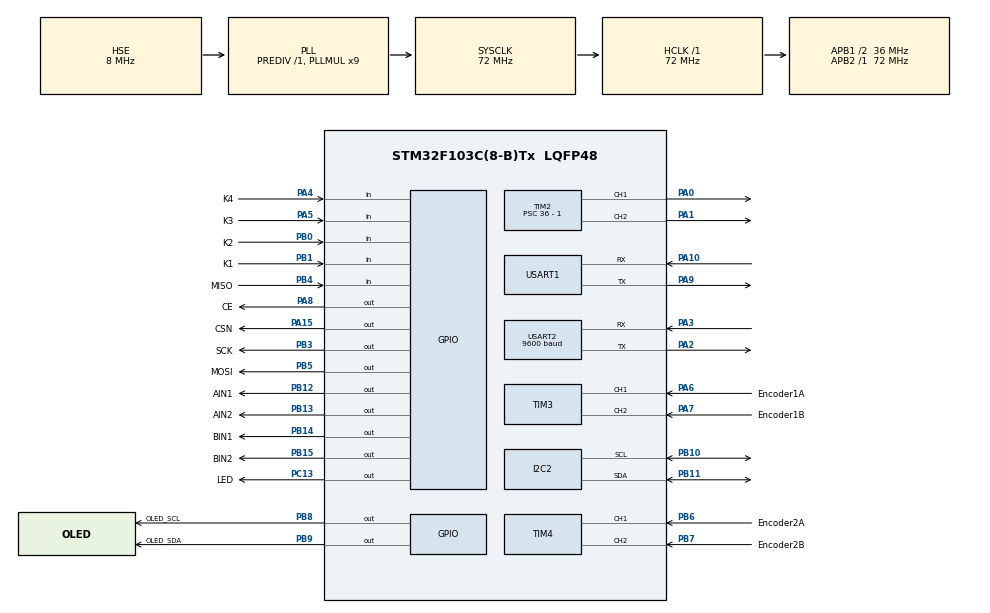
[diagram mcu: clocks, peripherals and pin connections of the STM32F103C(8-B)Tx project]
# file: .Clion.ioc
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I2C2.I2C_Mode=I2C_Fast
Mcu.Family=STM32F1
Mcu.Name=STM32F103C(8-B)Tx
Mcu.Package=LQFP48
NVIC.PriorityGroup=NVIC_PRIORITYGROUP_4
NVIC.TIM1_UP_IRQn=true\:0\:0\:false\:false\:true\:true\:true\:true
NVIC.USART1_IRQn=true\:0\:0\:false\:false\:true\:true\:true\:true
NVIC.USART2_IRQn=true\:0\:0\:false\:false\:true\:true\:true\:true
PA0-WKUP.Signal=S_TIM2_CH1_ETR
PA1.Signal=S_TIM2_CH2
PA10.Mode=Asynchronous
PA10.Signal=USART1_RX
PA13.Mode=Serial_Wire
PA13.Signal=SYS_JTMS-SWDIO
PA14.Mode=Serial_Wire
PA14.Signal=SYS_JTCK-SWCLK
PA15.GPIO_Label=CSN
PA15.GPIO_Speed=GPIO_SPEED_FREQ_HIGH
PA15.PinState=GPIO_PIN_SET
PA15.Signal=GPIO_Output
PA2.Mode=Asynchronous
PA2.Signal=USART2_TX
PA3.Mode=Asynchronous
PA3.Signal=USART2_RX
PA4.GPIO_Label=K4
PA4.GPIO_PuPd=GPIO_PULLUP
PA4.Signal=GPIO_Input
PA5.GPIO_Label=K3
PA5.GPIO_PuPd=GPIO_PULLUP
PA5.Signal=GPIO_Input
PA6.GPIO_Label=Encoder1A
PA6.GPIO_PuPd=GPIO_PULLUP
PA6.Signal=S_TIM3_CH1
PA7.GPIO_Label=Encoder1B
PA7.GPIO_PuPd=GPIO_PULLUP
PA7.Signal=S_TIM3_CH2
PA8.GPIO_Label=CE
PA8.GPIO_Speed=GPIO_SPEED_FREQ_HIGH
PA8.PinState=GPIO_PIN_RESET
PA8.Signal=GPIO_Output
PA9.Mode=Asynchronous
PA9.Signal=USART1_TX
PB0.GPIO_Label=K2
PB0.GPIO_PuPd=GPIO_PULLUP
PB0.Signal=GPIO_Input
PB1.GPIO_Label=K1
PB1.GPIO_PuPd=GPIO_PULLUP
PB1.Signal=GPIO_Input
PB10.Mode=I2C
PB10.Signal=I2C2_SCL
PB11.Mode=I2C
PB11.Signal=I2C2_SDA
PB12.GPIO_Label=AIN1
PB12.GPIO_Speed=GPIO_SPEED_FREQ_HIGH
PB12.Signal=GPIO_Output
PB13.GPIO_Label=AIN2
PB13.GPIO_Speed=GPIO_SPEED_FREQ_HIGH
PB13.Signal=GPIO_Output
PB14.GPIO_Label=BIN1
PB14.GPIO_Speed=GPIO_SPEED_FREQ_HIGH
PB14.Signal=GPIO_Output
PB15.GPIO_Label=BIN2
PB15.GPIO_Speed=GPIO_SPEED_FREQ_HIGH
PB15.Signal=GPIO_Output
PB3.GPIO_Label=SCK
PB3.GPIO_Speed=GPIO_SPEED_FREQ_HIGH
PB3.Signal=GPIO_Output
PB4.GPIO_Label=MISO
PB4.GPIO_PuPd=GPIO_PULLUP
PB4.Signal=GPIO_Input
PB5.GPIO_Label=MOSI
PB5.GPIO_Speed=GPIO_SPEED_FREQ_HIGH
PB5.Signal=GPIO_Output
PB6.GPIO_Label=Encoder2A
PB6.GPIO_PuPd=GPIO_PULLUP
PB6.Signal=S_TIM4_CH1
PB7.GPIO_Label=Encoder2B
PB7.GPIO_PuPd=GPIO_PULLUP
PB7.Signal=S_TIM4_CH2
PB8.GPIO_Label=OLED_SCL
PB8.GPIO_ModeDefaultOutputPP=GPIO_MODE_OUTPUT_OD
PB8.GPIO_PuPd=GPIO_PULLUP
PB8.GPIO_Speed=GPIO_SPEED_FREQ_HIGH
PB8.PinState=GPIO_PIN_SET
PB8.Signal=GPIO_Output
PB9.GPIO_Label=OLED_SDA
PB9.GPIO_ModeDefaultOutputPP=GPIO_MODE_OUTPUT_OD
PB9.GPIO_PuPd=GPIO_PULLUP
PB9.GPIO_Speed=GPIO_SPEED_FREQ_HIGH
PB9.PinState=GPIO_PIN_SET
PB9.Signal=GPIO_Output
PC13-TAMPER-RTC.GPIO_Label=LED
PC13-TAMPER-RTC.Signal=GPIO_Output
PD0-OSC_IN.Mode=HSE-External-Oscillator
PD0-OSC_IN.Signal=RCC_OSC_IN
PD1-OSC_OUT.Mode=HSE-External-Oscillator
PD1-OSC_OUT.Signal=RCC_OSC_OUT
ProjectManager.HeapSize=0x200
ProjectManager.StackSize=0x400
ProjectManager.TargetToolchain=MDK-ARM V5.32
RCC.AHBFreq_Value=72000000
RCC.APB1CLKDivider=RCC_HCLK_DIV2
RCC.APB1Freq_Value=36000000
RCC.APB1TimFreq_Value=72000000
RCC.APB2Freq_Value=72000000
RCC.APB2TimFreq_Value=72000000
RCC.HCLKFreq_Value=72000000
RCC.PLLMUL=RCC_PLL_MUL9
RCC.PLLSourceVirtual=RCC_PLLSOURCE_HSE
RCC.SYSCLKFreq_VALUE=72000000
RCC.SYSCLKSource=RCC_SYSCLKSOURCE_PLLCLK
RCC.USBFreq_Value=72000000
SH.S_TIM2_CH1_ETR.0=TIM2_CH1,PWM Generation1 CH1
SH.S_TIM2_CH2.0=TIM2_CH2,PWM Generation2 CH2
SH.S_TIM3_CH1.0=TIM3_CH1,Encoder_Interface
SH.S_TIM3_CH2.0=TIM3_CH2,Encoder_Interface
SH.S_TIM4_CH1.0=TIM4_CH1,Encoder_Interface
SH.S_TIM4_CH2.0=TIM4_CH2,Encoder_Interface
TIM1.AutoReloadPreload=TIM_AUTORELOAD_PRELOAD_ENABLE
TIM1.Period=1000 - 1
TIM1.Prescaler=72 - 1
TIM2.AutoReloadPreload=TIM_AUTORELOAD_PRELOAD_ENABLE
TIM2.Channel-PWM\ Generation1\ CH1=TIM_CHANNEL_1
TIM2.Channel-PWM\ Generation2\ CH2=TIM_CHANNEL_2
TIM2.Period=100 - 1
TIM2.Prescaler=36 - 1
TIM3.EncoderMode=TIM_ENCODERMODE_TI12
TIM3.IC1Filter=15
TIM3.IC2Filter=15
TIM4.EncoderMode=TIM_ENCODERMODE_TI12
TIM4.IC1Filter=15
TIM4.IC1Polarity=TIM_ICPOLARITY_FALLING
TIM4.IC2Filter=15
USART1.VirtualMode=VM_ASYNC
USART2.BaudRate=9600
USART2.VirtualMode=VM_ASYNC
VP_TIM1_VS_ClockSourceINT.Mode=Internal
VP_TIM2_VS_ClockSourceINT.Mode=Internal
board=custom

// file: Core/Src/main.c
/* USER CODE BEGIN Header */
/**
 ******************************************************************************
 * @file           : main.c
 * @brief          : Main program body
 ******************************************************************************
 * @attention
 *
 * Copyright (c) 2026 STMicroelectronics.
 * All rights reserved.
 *
 * This software is licensed under terms that can be found in the LICENSE file
 * in the root directory of this software component.
 * If no LICENSE file comes with this software, it is provided AS-IS.
 *
 ******************************************************************************
 */
/* USER CODE END Header */
#include "main.h"
#include "i2c.h"
#include "tim.h"
#include "usart.h"
#include "gpio.h"

/* USER CODE BEGIN Includes */
#include <stdio.h>
#include <string.h>
#include "NRF24L01.h"
#include "MyKey.h"
#include "OLED.h"
#include "Motor.h"
#include "Encoder.h"
#include "MPU6050.h"
#include "BLE_UART.h"
#include "key_callback.h"
#include "tim_callback.h"
#include "PID.h"
#include "Store.h"
/* USER CODE END Includes */

/* USER CODE BEGIN PTD */
typedef enum
{
  STATE_MENU = 0,
  STATE_RUNNING,
  STATE_PARAM_VIEW,
  STATE_OFFSET_VIEW
} AppState_t;
/* USER CODE END PTD */

/* USER CODE BEGIN PV */
uint8_t RunFlag = 0;
uint8_t K4DoubleClickFlag = 0;
uint8_t K4SingleClickFlag = 0;
AppState_t AppState = STATE_MENU;
uint16_t SpeedLevel = 5;
/* USER CODE END PV */

void SystemClock_Config(void);
/* USER CODE BEGIN PFP */
void ClearKeyEvents(void);
void Action_K1(void);
void Action_K2(void);
void Action_K3(void);
void Action_K4(void);
void Display_Update(AppState_t state);
/* USER CODE END PFP */

/* USER CODE BEGIN 0 */
void LED_ON(void)
{
  HAL_GPIO_WritePin(LED_GPIO_Port, LED_Pin, GPIO_PIN_RESET);
}

void LED_OFF(void)
{
  HAL_GPIO_WritePin(LED_GPIO_Port, LED_Pin, GPIO_PIN_SET);
}
// 深吃这两个函数代码！！！
void SaveParam(void)
{
  /*保存参数至FLASH*/
  Store_Data[1] = GY_Offset;
  Store_Data[2] = *((uint16_t *)&AngleAcc_Offset);
  Store_Data[3] = *((uint16_t *)&AngleAcc_Offset + 1);
  Store_Data[4] = SpeedLevel;
  Store_Save();
}

void LoadParam(void)
{
  /*从FLASH加载参数*/
  uint32_t Temp;
  GY_Offset = Store_Data[1];
  Temp = (Store_Data[3] << 16) | Store_Data[2];
  AngleAcc_Offset = *(float *)&Temp;
  SpeedLevel = Store_Data[4];
}

/* ===== 浮点数格式化工具函数 ===== */
#define FLOAT_BUF_COUNT 40
#define FLOAT_BUF_SIZE 16

/* Float_Printf showSign 参数宏定义 */
#define FLOAT_SIGN_OnlyNEGATIVE 0 /* 仅负数显示-，正数不显示符号 */
#define FLOAT_SIGN_ALWAYS 1       /* 始终显示 +/- */
#define FLOAT_SIGN_OnlyPOSITIVE 2 /* 仅正数显示+，负数不显示符号 */

static char Float_Buf[FLOAT_BUF_COUNT][FLOAT_BUF_SIZE];
static uint8_t Float_BufIdx = 0;

/**
 * @brief  浮点数格式化为字符串（替代 sprintf 的 %f，不依赖 _printf_float）
 * @param  value    浮点数值
 * @param  width    总显示宽度（含符号、整数部分、小数点、小数部分）
 * @param  decimals 小数位数（0~5）
 * @param  showSign FLOAT_SIGN_OnlyNEGATIVE=仅负数显示-，FLOAT_SIGN_ALWAYS=始终显示+/-，FLOAT_SIGN_OnlyPOSITIVE=仅正数显示+
 * @return 格式化后的字符串指针（旋转缓冲区）
 */
char *Float_Printf(float value, int width, int decimals, uint8_t showSign)
{
  char *buf = Float_Buf[Float_BufIdx];
  Float_BufIdx = (Float_BufIdx + 1) % FLOAT_BUF_COUNT;

  int pos = 0;
  char sign = 0;

  /* 1. 处理符号 */
  if (value < 0.0f)
  {
    if (showSign != 2)
      sign = '-'; /* showSign=2时不显示负号，其他都显示 */
    value = -value;
  }
  else if (showSign >= 1)
  {
    sign = '+'; /* showSign=1或2时显示正号 */
  }

  /* 2. 拆分整数部分和小数部分 */
  int intPart = (int)value;
  float frac = value - (float)intPart;

  /* 3. 计算小数部分（0~5位），不用pow，用乘法循环 */
  int fracInt = 0;
  if (decimals > 0)
  {
    float multiplier = 1.0f;
    for (int i = 0; i < decimals; i++)
      multiplier *= 10.0f;
    fracInt = (int)(frac * multiplier); /* 直接截断，不四舍五入 */
  }

  /* 4. 计算整数部分的位数 */
  int intDigits = 0;
  int temp = intPart;
  if (temp == 0)
  {
    intDigits = 1;
  }
  else
  {
    while (temp > 0)
    {
      intDigits++;
      temp /= 10;
    }
  }

  /* 5. 计算总所需长度：符号 + 整数位 + 小数点 + 小数位 */
  int totalLen = (sign ? 1 : 0) + intDigits + (decimals > 0 ? 1 : 0) + decimals;

  /* 6. 计算需要补零的数量（符号占1位后，剩余宽度用于补零+整数+小数点+小数） */
  int padZero = 0;
  int contentLen = intDigits + (decimals > 0 ? 1 : 0) + decimals;
  if (width > (sign ? 1 : 0) + contentLen)
  {
    padZero = width - (sign ? 1 : 0) - contentLen;
  }

  /* 7. 从左到右构建字符串：符号 -> 补零 -> 整数部分 -> 小数点 -> 小数部分 */

  /* 符号（放在最前面） */
  if (sign)
  {
    buf[pos++] = sign;
  }

  /* 补零 */
  for (int i = 0; i < padZero; i++)
  {
    buf[pos++] = '0';
  }

  /* 整数部分（递归写入） */
  if (intPart == 0)
  {
    buf[pos++] = '0';
  }
  else
  {
    /* 先写高位到临时数组，再反转写入buf */
    char intBuf[12];
    int intLen = 0;
    temp = intPart;
    while (temp > 0)
    {
      intBuf[intLen++] = '0' + (temp % 10);
      temp /= 10;
    }
    /* 反转 */
    for (int i = intLen - 1; i >= 0; i--)
    {
      buf[pos++] = intBuf[i];
    }
  }

  /* 小数点 */
  if (decimals > 0)
  {
    buf[pos++] = '.';

    /* 小数部分（补零 + 数字） */
    int fracDigits = 1;
    int divisor = 1;
    for (int i = 1; i < decimals; i++)
    {
      divisor *= 10;
      fracDigits *= 10;
    }
    fracDigits *= 10;

    for (int i = 0; i < decimals; i++)
    {
      int digit = (fracInt / divisor) % 10;
      buf[pos++] = '0' + digit;
      divisor /= 10;
    }
  }

  buf[pos] = '\0';
  return buf;
}

/*平衡车动画*/
void BCar_Start_Animation()
{
  OLED_ShowString(44, 6, "STM32", OLED_8X16);
  OLED_ShowChinese_12X12(46, 26, "平衡车");
  OLED_ShowString(44, 48, "HAL_Car", OLED_6X8);
  OLED_Update();
  HAL_Delay(1500);
  while (1)
  {
    static uint16_t i = 0;
    OLED_ShowChinese_12X12(40, 26, "车度空间");
    if (i > 0)
      OLED_UpdateArea(40, 26, i, 12);
    if (i < 12 * 2)
    {
      HAL_Delay(16);
      i++;
    }
    if (i < 12 * 4 && i >= 12 * 2)
    {
      HAL_Delay(3);
      i++;
    }
    if (i >= 12 * 4)
    {
      HAL_Delay(1500);
      break;
    }
  }
  OLED_ClearArea(44, 48, 42, 8);
  OLED_UpdateArea(44, 48, 42, 8);
  while (1)
  {
    static uint16_t i = 0;
    OLED_ShowChinese_12X12(40, 46, "除了");
    OLED_ShowString(64, 48, "OLED", OLED_6X8);
    if (i > 0)
      OLED_UpdateArea(40, 46, i, 16);
    if (i < 16 * 2)
    {
      HAL_Delay(16);
      i++;
    }
    if (i < 16 * 6 && i >= 16 * 2)
    {
      HAL_Delay(3);
      i++;
    }
    if (i >= 16 * 6)
    {
      HAL_Delay(1500);
      break;
    }
  }
  while (1)
  {
    static uint16_t i = 0;
    OLED_ShowChinese_12X12(30, 46, "其余从零撰写");
    if (i > 0)
      OLED_UpdateArea(30, 46, i, 12);
    if (i < 12 * 3)
    {
      HAL_Delay(16);
      i++;
    }
    if (i < 12 * 6 && i >= 12 * 3)
    {
      HAL_Delay(3);
      i++;
    }
    if (i >= 12 * 6)
    {
      HAL_Delay(1500);
      break;
    }
  }
  OLED_Clear();
  OLED_ShowChinese_12X12(30 + 16, 0, "期末月");
  OLED_ShowChinese_12X12(10 + 16, 13, "懒懒散散一个月");
  OLED_ShowChinese_12X12(24 + 16, 26, "历经千辛");
  OLED_ShowChinese_12X12(6 + 16, 40, "改了许许多多");
  OLED_ShowString(96, 43, "BUG", OLED_6X8);
  OLED_ShowChinese_12X12(26 + 16, 52, "终于完成！");
  OLED_Update();
  HAL_Delay(4000);
  OLED_Clear();
  OLED_ShowChinese_12X12(40, 26, "按下一键");
  OLED_ShowString(0, 40, "                K1>", OLED_6X8);
  OLED_Update();
}

/* ===== 按键事件清除，避免“误触”和“重复触发” ===== */
void ClearKeyEvents(void)
{
  Key_GetPressed(K1_ID);
  Key_GetPressed(K2_ID);
  Key_GetPressed(K3_ID);
  K4SingleClickFlag = 0;
  K4DoubleClickFlag = 0;
}

/* ===== K1：启动/停止 ===== */
void Action_K1(void)
{
  if (AppState == STATE_MENU)
  {
    PID_Init(&AnglePID);
    PID_Init(&SpeedPID);
    PID_Init(&TurnPID);
    Angle = AngleAcc_Filter;
    LED_ON();
    RunFlag = 1;
    AppState = STATE_RUNNING;
  }
  else if (AppState == STATE_RUNNING)
  {
    LED_OFF();
    RunFlag = 0;
    AppState = STATE_MENU;
    ClearKeyEvents();
  }
}

/* ===== K2：校准（仅菜单状态下可触发） ===== */
void Action_K2(void)
{
  if (AppState != STATE_MENU)
    return;

  OLED_Clear();
  OLED_Printf(0, 0, OLED_6X8, "Calibrating MPU6050...");
  OLED_Update();

  MPU6050_Calibrate();

  OLED_Clear();
  OLED_Printf(0, 0, OLED_6X8, "Calibration Finished");
  OLED_Update();
  HAL_Delay(1000);

  AppState = STATE_MENU;
  ClearKeyEvents();
}

/* ===== K3：参数显示切换 ===== */
void Action_K3(void)
{
  if (AppState == STATE_MENU)
  {
    RunFlag = 2;
    AppState = STATE_PARAM_VIEW;
  }
  else if (AppState == STATE_PARAM_VIEW)
  {
    RunFlag = 0;
    AppState = STATE_MENU;
    ClearKeyEvents();
  }
}

/* ===== K4：偏移量显示 / 保存参数 ===== */
void Action_K4(void)
{
  if (K4DoubleClickFlag == 1)
  {
    OLED_Clear();
    OLED_Printf(0, 0, OLED_6X8, "Saving Param...");
    OLED_Update();
    HAL_Delay(1000);

    SaveParam();

    OLED_Clear();
    OLED_Printf(0, 0, OLED_6X8, "Save Complete");
    OLED_Update();
    HAL_Delay(1000);

    K4DoubleClickFlag = 0;
    K4SingleClickFlag = 0;
    AppState = STATE_MENU;
    ClearKeyEvents();
  }
  else if (K4SingleClickFlag == 1)
  {
    if (AppState == STATE_MENU)
    {
      AppState = STATE_OFFSET_VIEW;
      OLED_Clear();
      OLED_Printf(0, 0, OLED_6X8, "AngleAccOffset:%s", Float_Printf(AngleAcc_Offset, 5, 2, FLOAT_SIGN_ALWAYS));
      OLED_Printf(0, 16, OLED_6X8, "   GY_Offset   :%05d", GY_Offset);
      OLED_Printf(0, 32, OLED_6X8, "   SpeedLevel  :%05d", SpeedLevel);
      OLED_Printf(0, 56, OLED_6X8, "<DoubleK4:Save Param>");
      OLED_Update();
      K4SingleClickFlag = 0;
    }
    else if (AppState == STATE_OFFSET_VIEW)
    {
      K4SingleClickFlag = 0;
      AppState = STATE_MENU;
      ClearKeyEvents();
    }
  }
}
/* ===== K8：切换为减速模式 ===== */
void Action_K8(void)
{
  SaveParam();
}
/* ===== K9：切换为减速模式 ===== */
void Action_K9(void)
{
  if (SpeedLevel <= 1)
    return;
  SpeedLevel--;
}
/* ===== K10：切换为减速模式 ===== */
void Action_K10(void)
{
  if (SpeedLevel >= 5)
    return;
  SpeedLevel++;
}
/* ===== OLED显示更新 ===== */
void Display_Update(AppState_t state)
{
  if (state == STATE_MENU && K4SingleClickFlag == 0)
  {
    LED_OFF();
    OLED_Clear();
    OLED_Printf(0, 0, OLED_8X16, "K1:Start Program");
    OLED_Printf(0, 16, OLED_8X16, "K2:Calibrate");
    OLED_Printf(0, 32, OLED_8X16, "K3:Param Display");
    OLED_Printf(0, 48, OLED_8X16, "K4:Param Save");
    OLED_Update();
  }
  else if ((state == STATE_RUNNING || state == STATE_PARAM_VIEW) && K4SingleClickFlag == 0)
  {
    int16_t Coord_Offset = 0;
    OLED_Clear();
    OLED_Printf(0, 0, OLED_6X8, "  Angle");
    OLED_Printf(0, 8, OLED_6X8, "P:%s", Float_Printf(AnglePID.Kp, 5, 2, FLOAT_SIGN_OnlyNEGATIVE));
    OLED_Printf(0, 16, OLED_6X8, "I:%s", Float_Printf(AnglePID.Ki, 5, 2, FLOAT_SIGN_OnlyNEGATIVE));
    OLED_Printf(0, 24, OLED_6X8, "D:%s", Float_Printf(AnglePID.Kd, 5, 2, FLOAT_SIGN_OnlyNEGATIVE));

    OLED_Printf(50, 0, OLED_6X8, "Speed");
    OLED_Printf(50, 8, OLED_6X8, "%s", Float_Printf(SpeedPID.Kp, 5, 2, FLOAT_SIGN_OnlyNEGATIVE));
    OLED_Printf(50, 16, OLED_6X8, "%s", Float_Printf(SpeedPID.Ki, 5, 2, FLOAT_SIGN_OnlyNEGATIVE));
    OLED_Printf(50, 24, OLED_6X8, "%s", Float_Printf(SpeedPID.Kd, 5, 2, FLOAT_SIGN_OnlyNEGATIVE));

    OLED_Printf(88, 0, OLED_6X8, "Turn");
    OLED_Printf(88, 8, OLED_6X8, "%s", Float_Printf(TurnPID.Kp, 5, 2, FLOAT_SIGN_OnlyNEGATIVE));
    OLED_Printf(88, 16, OLED_6X8, "%s", Float_Printf(TurnPID.Ki, 5, 2, FLOAT_SIGN_OnlyNEGATIVE));
    OLED_Printf(88, 24, OLED_6X8, "%s", Float_Printf(TurnPID.Kd, 5, 2, FLOAT_SIGN_OnlyNEGATIVE));

    if (state == STATE_RUNNING)
    {
      OLED_Printf(50, 48, OLED_6X8, "%s", Float_Printf(SpeedPID.Out, 5, 0, FLOAT_SIGN_ALWAYS));
      OLED_Printf(88, 48, OLED_6X8, "%s", Float_Printf(TurnPID.Out, 5, 0, FLOAT_SIGN_ALWAYS));
      OLED_Printf(0, 48, OLED_6X8, "O:%s", Float_Printf(AnglePID.Out, 5, 0, FLOAT_SIGN_ALWAYS));

      OLED_Printf(0, 32, OLED_6X8, "T:%s", Float_Printf(AnglePID.Target, 5, 1, FLOAT_SIGN_ALWAYS));
      OLED_Printf(50, 32, OLED_6X8, "%s", Float_Printf(SpeedPID.Target, 5, 1, FLOAT_SIGN_ALWAYS));
      OLED_Printf(88, 32, OLED_6X8, "%s", Float_Printf(TurnPID.Target, 5, 1, FLOAT_SIGN_ALWAYS));
    }
    else
    {
      Coord_Offset = -8;
      OLED_Printf(0, 56, OLED_6X8, "   <Param Display>");
      OLED_Printf(0, 56 - 8 + Coord_Offset, OLED_6X8, "OOSP%s", Float_Printf(AnglePID.OutOffset_Positive, 5, 0, FLOAT_SIGN_ALWAYS));
      OLED_Printf(58, 56 - 8 + Coord_Offset, OLED_6X8, " OOSN%s", Float_Printf(AnglePID.OutOffset_Negative, 5, 0, FLOAT_SIGN_ALWAYS));
    }
    OLED_Printf(0, 40 + Coord_Offset, OLED_6X8, "A:%s", Float_Printf(Angle, 5, 1, FLOAT_SIGN_ALWAYS));
    OLED_Printf(50, 40 + Coord_Offset, OLED_6X8, "%s", Float_Printf(AveSpeed, 5, 1, FLOAT_SIGN_ALWAYS));
    OLED_Printf(88, 40 + Coord_Offset, OLED_6X8, "%s", Float_Printf(DifSpeed, 5, 1, FLOAT_SIGN_ALWAYS));
    OLED_Printf(0, 56 + Coord_Offset, OLED_6X8, "    SpeedLevel:%d", SpeedLevel);
    OLED_Update();

    char msg[250];
    sprintf(msg, "[plot,%s,%s]", Float_Printf(SpeedPID.Actual, 5, 2, FLOAT_SIGN_ALWAYS), Float_Printf(SpeedPID.Target, 5, 2, FLOAT_SIGN_ALWAYS));
    HAL_UART_Transmit(&huart2, (uint8_t *)msg, strlen(msg), HAL_MAX_DELAY);
  }
}
/* USER CODE END 0 */

int main(void)
{

  /* MCU Configuration--------------------------------------------------------*/

  /* Reset of all peripherals, Initializes the Flash interface and the Systick. */
  HAL_Init();

  /* Configure the system clock */
  SystemClock_Config();

  /* Initialize all configured peripherals */
  MX_GPIO_Init();
  MX_TIM1_Init();
  MX_USART1_UART_Init();
  MX_TIM2_Init();
  MX_TIM3_Init();
  MX_TIM4_Init();
  MX_USART2_UART_Init();
  MX_I2C2_Init();
  /* USER CODE BEGIN 2 */
  OLED_Init();
  NRF24L01_Init();
  HAL_TIM_Base_Start_IT(&htim1);
  // 开启串口接收
  BLE_UART_Init();
  Motor_Init();
  Encoder_Init();
  MPU6050_Init();
  // 注册按键回调函数
  Key_RegisterAllHandlers();
  /* USER CODE END 2 */

  /* Infinite loop */
  /* USER CODE BEGIN WHILE */
  int8_t LH, LV, RH, RV;
  uint8_t Remote_KeyControl = 0;
  uint8_t Remote_KeyLast = 0;
  uint8_t displayKey = 0;
  LED_OFF();
  LoadParam();
  BCar_Start_Animation();
  while (Key_GetPressed(K1_ID) == 0)
    ;
  OLED_Clear();
  if (Store_Init())
  {
    /*未存储参数，将程序中的默认参数保存到FLASH中*/
    SaveParam();

    /*提示已重置参数*/
    OLED_Clear();
    OLED_ShowString(0, 0, "     [提示]     ", OLED_8X16);
    OLED_ShowString(0, 16, "   已重置参数   ", OLED_8X16);
    OLED_ShowString(0, 32, " 请注意执行校准 ", OLED_8X16);
    OLED_ShowString(0, 48, "            K1>", OLED_8X16);
    OLED_Update();

    /*按K4键继续*/
    while (Key_GetPressed(K1_ID) == 0)
      ;
  }
  /*上电后加载FLASH中保存的参数*/
  LoadParam();
  OLED_Clear();
  HAL_Delay(10);
  while (1)
  {
    BlueSerial_Control();

    if (NRF24L01_Receive())
    {
      LH = NRF24L01_RxBuffer[0];
      LV = NRF24L01_RxBuffer[1];
      RH = NRF24L01_RxBuffer[2];
      RV = NRF24L01_RxBuffer[3];
      Remote_KeyControl = NRF24L01_RxBuffer[4];

      SpeedPID.Target = LV / 100.0 * SpeedLevel;
      TurnPID.Target = -(RH / 100.0 * SpeedLevel);

      if (Remote_KeyControl != 0 && Remote_KeyLast == 0)
      {
        switch (Remote_KeyControl)
        {
        case K1_Flag:
          Action_K1();
          break;
        case K2_Flag:
          Action_K2();
          break;
        case K3_Flag:
          Action_K3();
          break;
        case K4_Flag:
          K4SingleClickFlag = 1;
          Action_K4();
          break;
        case K8_Flag:
          Action_K8();
          break;
        case K9_Flag:
          Action_K9();
          break;
        case K10_Flag:
          Action_K10();
          break;
        }
        NRF24L01_TxBuffer[5] = SpeedLevel;
        NRF24L01_Send();
      }
      Remote_KeyLast = Remote_KeyControl;

      /* 反向通道：根据当前状态计算活动按键，回传给遥控器 */
      switch (AppState)
      {
      case STATE_MENU:
        displayKey = 0;
        break;
      case STATE_RUNNING:
        displayKey = K1_Flag;
        break;
      case STATE_PARAM_VIEW:
        displayKey = K3_Flag;
        break;
      case STATE_OFFSET_VIEW:
        displayKey = K4_Flag;
        break;
      default:
        displayKey = 0;
        break;
      }
      NRF24L01_TxBuffer[4] = displayKey;
      NRF24L01_Send();
    }

    switch (AppState)
    {
    case STATE_MENU:
      if (Key_GetPressed(K1_ID))
        Action_K1();
      if (Key_GetPressed(K2_ID))
        Action_K2();
      if (Key_GetPressed(K3_ID))
        Action_K3();
      if (K4SingleClickFlag || K4DoubleClickFlag)
        Action_K4();
      break;
    case STATE_RUNNING:
      if (Key_GetPressed(K1_ID))
        Action_K1();
      if (K4SingleClickFlag || K4DoubleClickFlag)
        Action_K4();
      break;
    case STATE_PARAM_VIEW:
      if (Key_GetPressed(K3_ID))
        Action_K3();
      if (K4SingleClickFlag || K4DoubleClickFlag)
        Action_K4();
      break;
    case STATE_OFFSET_VIEW:
      if (K4SingleClickFlag || K4DoubleClickFlag)
        Action_K4();
      break;
    default:
      break;
    }

    if (RunFlag != 1)
    {
      LED_OFF();
    }

    static uint8_t RunFlag_Last = 0;
    if (RunFlag == 0 && RunFlag_Last == 1 && AppState != STATE_MENU)
    {
      AppState = STATE_MENU;
      ClearKeyEvents();
    }
    RunFlag_Last = RunFlag;

    Display_Update(AppState);

    /* USER CODE END WHILE */

  }
}

void SystemClock_Config(void)
{
  RCC_OscInitTypeDef RCC_OscInitStruct = {0};
  RCC_ClkInitTypeDef RCC_ClkInitStruct = {0};

  /** Initializes the RCC Oscillators according to the specified parameters
   * in the RCC_OscInitTypeDef structure.
   */
  RCC_OscInitStruct.OscillatorType = RCC_OSCILLATORTYPE_HSE;
  RCC_OscInitStruct.HSEState = RCC_HSE_ON;
  RCC_OscInitStruct.HSEPredivValue = RCC_HSE_PREDIV_DIV1;
  RCC_OscInitStruct.HSIState = RCC_HSI_ON;
  RCC_OscInitStruct.PLL.PLLState = RCC_PLL_ON;
  RCC_OscInitStruct.PLL.PLLSource = RCC_PLLSOURCE_HSE;
  RCC_OscInitStruct.PLL.PLLMUL = RCC_PLL_MUL9;
  if (HAL_RCC_OscConfig(&RCC_OscInitStruct) != HAL_OK)
  {
    Error_Handler();
  }

  /** Initializes the CPU, AHB and APB buses clocks
   */
  RCC_ClkInitStruct.ClockType = RCC_CLOCKTYPE_HCLK | RCC_CLOCKTYPE_SYSCLK | RCC_CLOCKTYPE_PCLK1 | RCC_CLOCKTYPE_PCLK2;
  RCC_ClkInitStruct.SYSCLKSource = RCC_SYSCLKSOURCE_PLLCLK;
  RCC_ClkInitStruct.AHBCLKDivider = RCC_SYSCLK_DIV1;
  RCC_ClkInitStruct.APB1CLKDivider = RCC_HCLK_DIV2;
  RCC_ClkInitStruct.APB2CLKDivider = RCC_HCLK_DIV1;

  if (HAL_RCC_ClockConfig(&RCC_ClkInitStruct, FLASH_LATENCY_2) != HAL_OK)
  {
    Error_Handler();
  }
}

void Error_Handler(void)
{
  __disable_irq();
  while (1)
  {
  }
}
